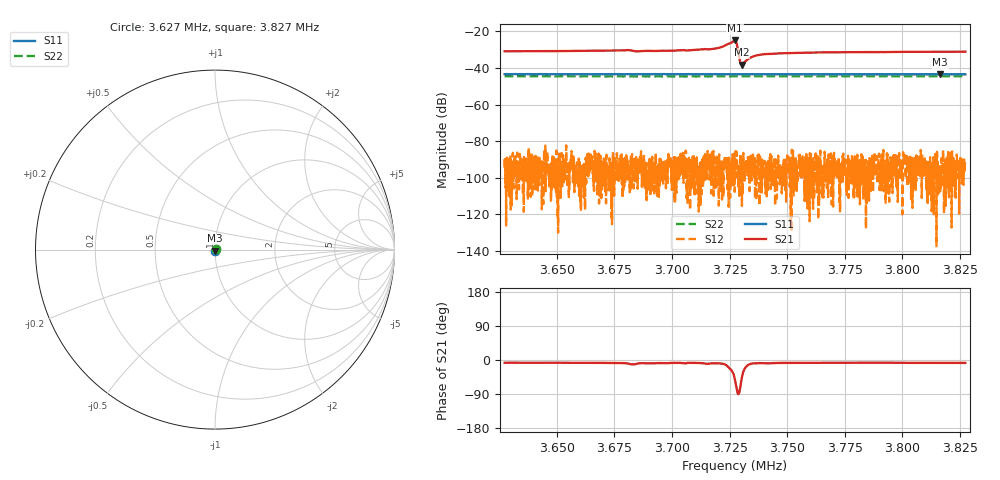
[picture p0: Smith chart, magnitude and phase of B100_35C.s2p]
# Hz S dB R 50.000
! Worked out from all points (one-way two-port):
!   6401 points, 3.627 MHz to 3.827 MHz, reference 50 ohm
!   highest |S21| = -24.98 dB at 3.727 MHz (marker M1); lowest = -38.2 dB at 3.73 MHz (marker M2)
!   lowest |S11| = -43.6 dB at 3.816 MHz (marker M3), VSWR 1.01, Z = 49.9 - j0.652 ohm
!   |S11| at or under -10 dB: start of sweep to end of sweep
!   |S22| runs from -44.7 to -44.4 dB; largest |S21 - S12| = 0.056
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3627344  -43.40 -98.7  -30.87 -7.3  -89.96 -21.5  -44.50 14.0
3660688  -43.40 -98.8  -30.73 -7.5  -98.64 -10.5  -44.59 14.1
3680782  -43.40 -98.8  -30.26 -9.5  -90.84 77.9  -44.61 14.9
3684719  -43.45 -98.8  -30.97 -9.8  -97.93 148.4  -44.60 14.7
3694032  -43.42 -99.0  -30.69 -8.2  -94.31 117.8  -44.60 14.8
3717094  -43.42 -99.1  -29.72 -8.9  -108.66 169.4  -44.57 14.7
3721188  -43.40 -99.0  -28.71 -9.3  -99.86 150.2  -44.56 14.7
3726656  -43.44 -98.8  -25.39 -36.8  -93.46 96.6  -44.56 14.7
3727344  -43.39 -98.9  -24.98 -52.4  -89.24 149.9  -44.60 14.7
3727719  -43.45 -99.0  -25.45 -65.0  -88.56 -14.3  -44.58 14.9
3728125  -43.45 -98.9  -26.96 -79.0  -85.93 -6.0  -44.57 14.8
3729594  -43.43 -98.9  -36.87 -73.8  -91.98 -162.4  -44.58 14.6
3729969  -43.47 -99.0  -38.02 -59.3  -96.69 35.7  -44.56 14.4
3730313  -43.40 -99.0  -38.24 -47.4  -104.99 127.1  -44.59 14.7
3730938  -43.49 -98.9  -37.52 -31.5  -86.45 64.2  -44.54 14.8
3732844  -43.46 -98.9  -35.33 -13.8  -96.37 20.5  -44.56 14.5
3734500  -43.48 -99.0  -34.07 -9.8  -101.30 23.6  -44.55 15.0
3738469  -43.48 -99.1  -32.74 -8.3  -98.88 3.5  -44.52 14.1
3760688  -43.51 -98.8  -31.58 -7.6  -100.32 -140.8  -44.53 14.7
3794032  -43.48 -99.2  -31.29 -7.2  -95.95 69.2  -44.50 14.5
3816406  -43.58 -99.0  -31.18 -7.6  -103.02 -129.1  -44.49 14.9
3827344  -43.51 -99.3  -31.14 -7.7  -90.33 75.5  -44.52 14.9
